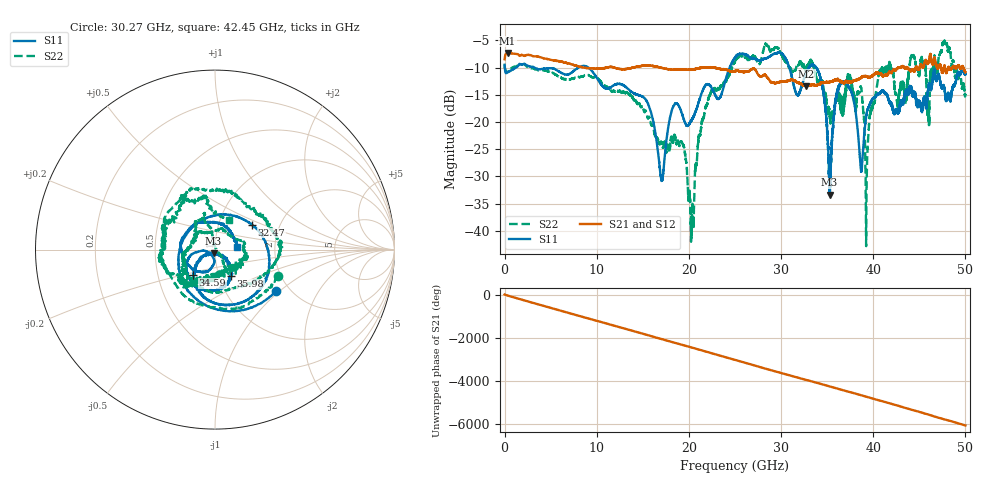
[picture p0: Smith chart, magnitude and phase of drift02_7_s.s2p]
!Created with skrf (http://scikit-rf.org).
# Hz S RI R 50.0
!freq ReS11 ImS11 ReS21 ImS21 ReS12 ImS12 ReS22 ImS22
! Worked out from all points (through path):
!   10001 points, 300 kHz to 50 GHz, reference 50 ohm
!   highest |S21| = -7.32 dB at 320.3 MHz (marker M1); lowest = -13.5 dB at 32.73 GHz (marker M2)
!   group delay of S21, straight-line fit = 335 ps
!   lowest |S11| = -33.3 dB at 35.26 GHz (marker M3), VSWR 1.04, Z = 49.2 - j1.97 ohm
!   |S11| at or under -10 dB: 3.242 GHz to 8.009 GHz (4.768 GHz wide, 84.7 % of centre); 9.102 GHz to 24.41 GHz (15.31 GHz wide, 91.4 % of centre); 33.83 GHz to end of sweep (the widest 3 of 9)
!   |S22| runs from -42.8 to -5.0 dB; largest |S21 - S12| = 0.014
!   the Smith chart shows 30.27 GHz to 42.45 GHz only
!   S11 on the Smith chart (normalised r, x): 30.27 GHz: 1.71, -0.94; 32.47 GHz: 1.44, +0.43; 34.59 GHz: 0.76, -0.22; 35.98 GHz: 1.14, -0.35; 42.45 GHz: 1.28, +0.03
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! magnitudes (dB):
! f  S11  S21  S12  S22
! 300 kHz  -9.5  -8.5  -8.4  -9.4
! 320.3 MHz  -10.9  -7.3  -7.3  -10.6
! 8.335 GHz  -9.8  -9.9  -9.9  -11.6
! 16.67 GHz  -25.8  -9.9  -9.9  -23.4
! 19.32 GHz  -18.7  -10.4  -10.4  -24.2
! 20.34 GHz  -19.5  -10.4  -10.4  -37.5
! 21.94 GHz  -13.1  -10.0  -10.0  -17.0
! 25 GHz  -8.1  -10.7  -10.7  -8.9
! 30.27 GHz  -7.7  -12.6  -12.6  -8.4
! 32.47 GHz  -12.1  -13.2  -13.3  -9.7
! 32.73 GHz  -10.9  -13.5  -13.5  -10.2
! 33.34 GHz  -9.5  -13.2  -13.2  -9.0
! 34.59 GHz  -14.6  -12.7  -12.7  -13.4
! 35.26 GHz  -33.3  -12.6  -12.6  -18.5
! 35.98 GHz  -15.3  -12.2  -12.2  -15.3
! 37.54 GHz  -14.1  -12.7  -12.7  -11.6
! 38.58 GHz  -27.0  -12.0  -12.0  -13.8
! 39.3 GHz  -18.3  -11.6  -11.7  -29.3
! 41.67 GHz  -16.0  -11.0  -11.1  -9.9
! 42.45 GHz  -18.1  -10.5  -10.4  -14.8
! 47.75 GHz  -14.1  -9.6  -9.7  -5.5
! 50 GHz  -11.2  -10.9  -10.9  -14.9
